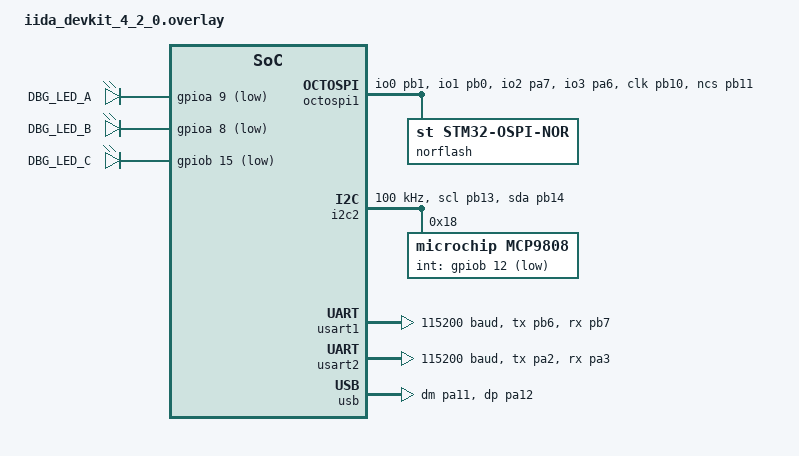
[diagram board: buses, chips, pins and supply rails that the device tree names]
/ {
	leds: leds {
		compatible = "gpio-leds";
		dbg_led_a: dbg_led_a {
			gpios = <&gpioa 9 (GPIO_PULL_UP | GPIO_ACTIVE_LOW)>;
			label = "DBG_LED_A";
		};
		dbg_led_b: dbg_led_b {
			gpios = <&gpioa 8 (GPIO_PULL_UP | GPIO_ACTIVE_LOW)>;
			label = "DBG_LED_B";
		};
		dbg_led_c: dbg_led_c {
			gpios = <&gpiob 15 (GPIO_PULL_UP | GPIO_ACTIVE_LOW)>;
			label = "DBG_LED_C";
		};
	};
};

&octospi1 {
	pinctrl-0 = <&octospi1_io0_pb1 &octospi1_io1_pb0 &octospi1_io2_pa7 &octospi1_io3_pa6 &octospi1_clk_pb10 &octospi1_ncs_pb11>;
	pinctrl-names = "default";
	status = "okay";
	norflash: norflash@60000000 {
		compatible = "st,stm32-ospi-nor";
		reg = <0x60000000 DT_SIZE_M(8)>;
		size = <DT_SIZE_M(8)>;
		ospi-max-frequency = <DT_FREQ_M(1)>;
		spi-bus-width = <OSPI_SPI_MODE>;
		data-rate = <OSPI_STR_TRANSFER>;
		dmas = <&dma1 0 41 0x480>; /* request 41 for OCTOSPI1 */
		dma-names = "tx_rx";
	};
};

&i2c2 {
	pinctrl-0 = <&i2c2_scl_pb13 &i2c2_sda_pb14>;
	pinctrl-names = "default";
	clock-frequency = <I2C_BITRATE_STANDARD>;
	status = "okay";
	mcp9808: mcp9808@18 {
		compatible = "microchip,mcp9808", "jedec,jc-42.4-temp";
		reg = <0x18>;
		int-gpios = <&gpiob 12 (GPIO_PULL_UP | GPIO_ACTIVE_LOW)>;
		resolution = <3>;
	};
};

&usart1 {
	pinctrl-0 = <&usart1_tx_pb6 &usart1_rx_pb7>;
	pinctrl-names = "default";
	current-speed = <115200>;
	status = "okay";
};

&usart2 {
	pinctrl-0 = <&usart2_tx_pa2 &usart2_rx_pa3>;
	pinctrl-names = "default";
	current-speed = <115200>;
	status = "okay";
};

zephyr_udc0: &usb {
	pinctrl-0 = <&usb_dm_pa11 &usb_dp_pa12>;
	pinctrl-names = "default";
	status = "okay";
	cdc_acm_uart0: cdc_acm_uart0 {
		compatible = "zephyr,cdc-acm-uart";
	};
};
